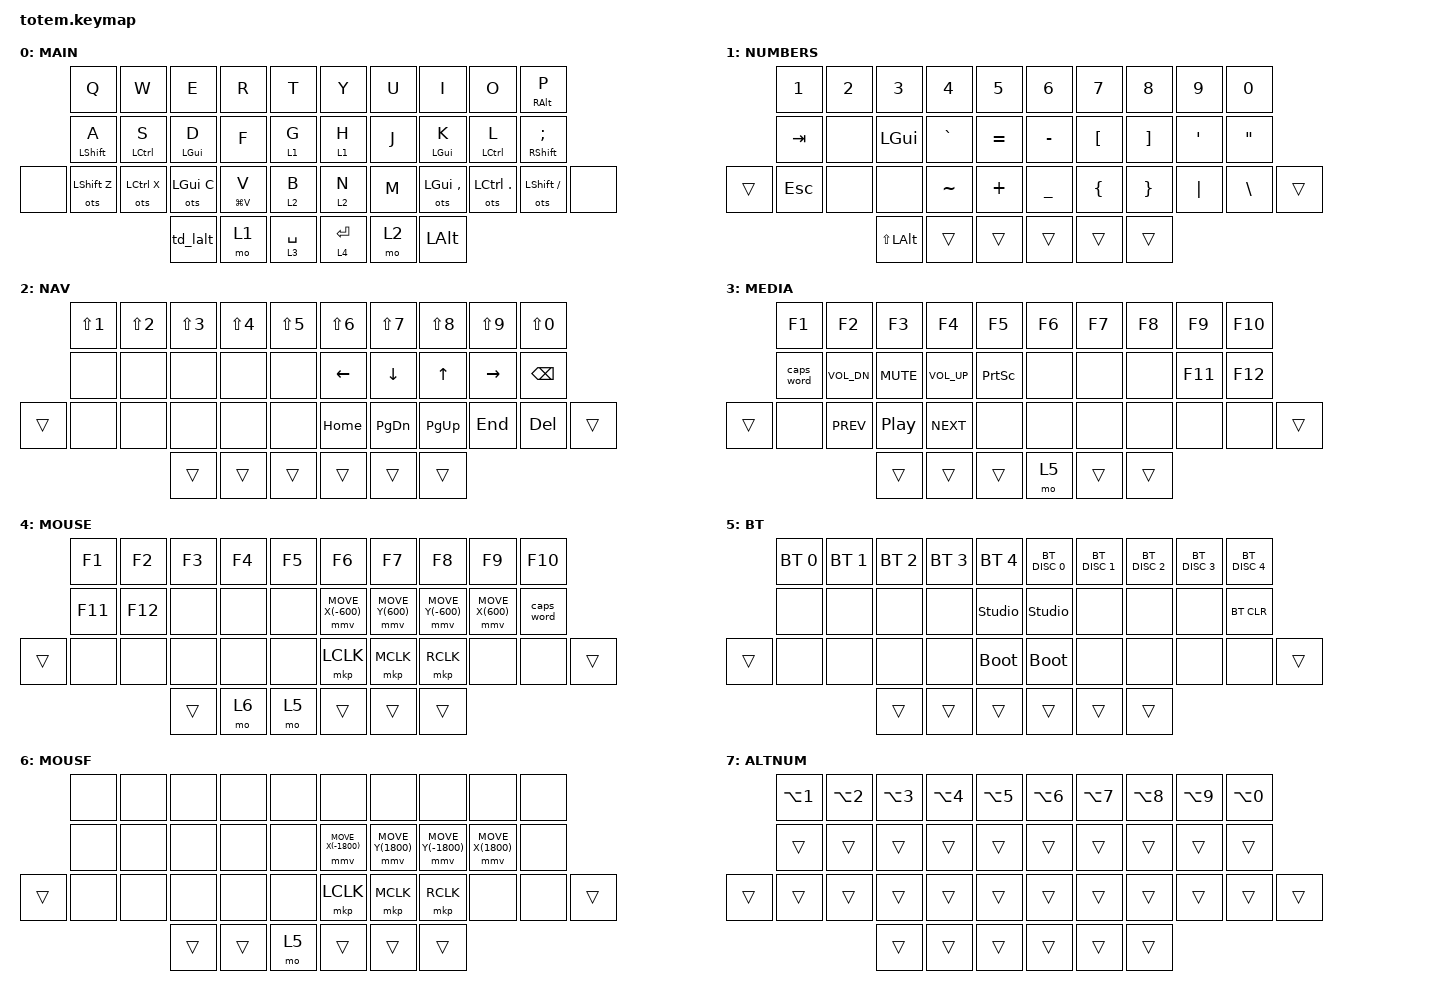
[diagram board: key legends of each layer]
/*
 * Copyright (c) 2020 The ZMK Contributors
 *
 * SPDX-License-Identifier: MIT
 */

#include <behaviors.dtsi>
#include <dt-bindings/zmk/keys.h>
#include <dt-bindings/zmk/bt.h>
#include <dt-bindings/zmk/pointing.h>
#include "key-labels/totem.h"
#include "behaviors.dtsi"
#include "combos_totem.dtsi"

/ {
    keymap {
        compatible = "zmk,keymap";

        default_layer {
            display-name = "MAIN";
            bindings = <
                  &kp Q         &kp W         &kp E         &kp R         &kp T         &kp Y         &kp U         &kp I         &kp O         &hmr RALT P
                  &hml_a LSHIFT A &hml LCTRL S  &hml LGUI D   &kp F         &ltq 1 G      &ltq 1 H      &kp J         &hmr LGUI K   &hmr LCTRL L  &hmr RSHIFT SEMI
    &none         &ots LSHIFT Z  &ots LCTRL X  &ots LGUI C  &mts LG(V) V  &ltq 2 B      &ltq 2 N      &kp M         &ots LGUI COMMA     &ots LCTRL DOT       &ots LSHIFT FSLH      &none
                                              &td_lalt      &mo 1         &lts 3 SPACE  &lts 4 RET    &mo 2         &kp LALT
            >;
        };

        numbers_layer {
            display-name = "NUMBERS";
            bindings = <
                  &kp N1        &kp N2        &kp N3        &kp N4        &kp N5        &kp N6        &kp N7        &kp N8        &kp N9        &kp N0
                  &kp TAB       &none         &kp LGUI      &kp GRAVE     &kp EQUAL     &kp MINUS     &kp LBKT      &kp RBKT      &kp SQT       &kp DQT
    &trans        &kp ESC       &none         &none         &kp TILDE     &kp PLUS      &kp UNDER     &kp LBRC      &kp RBRC      &kp PIPE      &kp BSLH      &trans
                                              &kp LS(LALT)  &trans        &trans        &trans        &trans        &trans
            >;
        };

        nav_layer {
            display-name = "NAV";
            bindings = <
                  &kp LS(N1)    &kp LS(N2)    &kp LS(N3)    &kp LS(N4)    &kp LS(N5)    &kp LS(N6)    &kp LS(N7)    &kp LS(N8)    &kp LS(N9)    &kp LS(N0)
                  &none         &none         &none         &none         &none         &kp LEFT      &kp DOWN      &kp UP        &kp RIGHT     &kp BSPC
    &trans        &none         &none         &none         &none         &none         &kp HOME      &kp PG_DN     &kp PG_UP     &kp END       &kp DELETE    &trans
                                              &trans        &trans        &trans        &trans        &trans        &trans
            >;
        };

        media_layer {
            display-name = "MEDIA";
            bindings = <
                  &kp F1        &kp F2        &kp F3        &kp F4        &kp F5        &kp F6        &kp F7        &kp F8        &kp F9        &kp F10
                  &caps_word    &kp C_VOL_DN  &kp C_MUTE    &kp C_VOL_UP  &kp PRINTSCREEN &none       &none         &none         &kp F11       &kp F12
    &trans        &none         &kp C_PREV    &kp C_PP      &kp C_NEXT    &none         &none         &none         &none         &none         &none         &trans
                                              &trans        &trans        &trans        &mo 5         &trans        &trans
            >;
        };

        mouse_layer {
            display-name = "MOUSE";
            bindings = <
                  &kp F1        &kp F2        &kp F3        &kp F4        &kp F5        &kp F6        &kp F7        &kp F8        &kp F9        &kp F10
                  &kp F11       &kp F12       &none         &none         &none         &mmv MOVE_X(-600) &mmv MOVE_Y(600) &mmv MOVE_Y(-600) &mmv MOVE_X(600) &caps_word
    &trans        &none         &none         &none         &none         &none         &mkp LCLK     &mkp MCLK     &mkp RCLK     &none         &none         &trans
                                              &trans        &mo 6         &mo 5         &trans        &trans        &trans
            >;
        };

        bt_layer {
            display-name = "BT";
            bindings = <
                  &bt BT_SEL 0  &bt BT_SEL 1  &bt BT_SEL 2  &bt BT_SEL 3  &bt BT_SEL 4  &bt BT_DISC 0 &bt BT_DISC 1 &bt BT_DISC 2 &bt BT_DISC 3 &bt BT_DISC 4
                  &none         &none         &none         &none         &studio_unlock &studio_unlock &none       &none         &none         &bt BT_CLR
    &trans        &none         &none         &none         &none         &bootloader   &bootloader   &none         &none         &none         &none         &trans
                                              &trans        &trans        &trans        &trans        &trans        &trans
            >;
        };

        mousefast_layer {
            display-name = "MOUSF";
            bindings = <
                  &none         &none         &none         &none         &none         &none         &none         &none         &none         &none
                  &none         &none         &none         &none         &none         &mmv MOVE_X(-1800) &mmv MOVE_Y(1800) &mmv MOVE_Y(-1800) &mmv MOVE_X(1800) &none
    &trans        &none         &none         &none         &none         &none         &mkp LCLK     &mkp MCLK     &mkp RCLK     &none         &none         &trans
                                              &trans        &trans        &mo 5         &trans        &trans        &trans
            >;
        };

        altnum_layer {
            display-name = "ALTNUM";
            bindings = <
                  &kp LA(N1)    &kp LA(N2)    &kp LA(N3)    &kp LA(N4)    &kp LA(N5)    &kp LA(N6)    &kp LA(N7)    &kp LA(N8)    &kp LA(N9)    &kp LA(N0)
                  &trans        &trans        &trans        &trans        &trans        &trans        &trans        &trans        &trans        &trans
    &trans        &trans        &trans        &trans        &trans        &trans        &trans        &trans        &trans        &trans        &trans        &trans
                                              &trans        &trans        &trans        &trans        &trans        &trans
            >;
        };
    };
};
